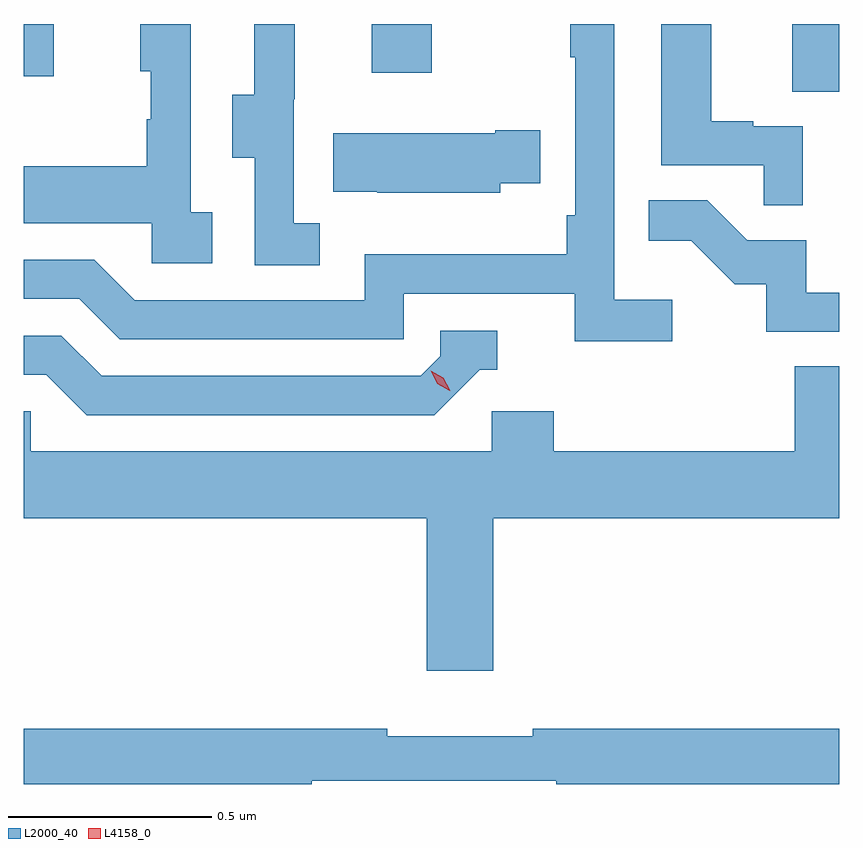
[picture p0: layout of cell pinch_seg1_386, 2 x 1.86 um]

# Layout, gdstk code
import gdstk
lib = gdstk.Library(unit=1e-6, precision=1e-09)
def R(c, l, rs):  # rectangles x0, y0, x1, y1
    for r in rs: c.add(gdstk.rectangle(r[:2], r[2:], *l))
def P(c, l, *ps):  # polygons
    for p in ps: c.add(gdstk.Polygon(p, *l))
L2000_40 = (2000, 40)
L4158_0 = (4158, 0)

pinch_seg1_386 = lib.new_cell('pinch_seg1_386')
R(pinch_seg1_386, L2000_40, [(969.101,542.122,969.216,542.288), (967.216,542.16,967.289,542.288), (968.069,542.169,968.217,542.288)])
P(pinch_seg1_386, L2000_40, [(969.126,542.037),(969.005,542.037),(969.005,542.05),(968.902,542.05),(968.902,542.288),(968.78,542.288),(968.78,541.941),(969.031,541.941),(969.031,541.843),(969.126,541.843)],
  [(967.678,541.826),(967.626,541.826),(967.626,542.288),(967.502,542.288),(967.502,542.172),(967.528,542.172),(967.528,542.054),(967.518,542.054),(967.518,541.939),(967.216,541.939),(967.216,541.799),(967.53,541.799),(967.53,541.701),(967.678,541.701)],
  [(968.806,541.612),(968.664,541.612),(968.664,542.288),(968.556,542.288),(968.556,542.207),(968.568,542.207),(968.568,541.819),(968.548,541.819),(968.548,541.723),(968.052,541.723),(968.052,541.611),(967.488,541.611),(967.389,541.71),(967.216,541.71),(967.216,541.614),(967.352,541.614),(967.451,541.515),(968.148,541.515),(968.148,541.626),(968.567,541.626),(968.567,541.51),(968.806,541.51)],
  [(967.942,541.799),(967.878,541.799),(967.878,542.103),(967.88,542.103),(967.88,542.288),(967.781,542.288),(967.781,542.115),(967.727,542.115),(967.727,541.96),(967.782,541.96),(967.782,541.696),(967.942,541.696)],
  [(968.385,541.898),(968.483,541.898),(968.483,542.028),(968.372,542.028),(968.372,542.02),(967.975,542.02),(967.975,541.877),(968.083,541.877),(968.083,541.874),(968.385,541.874)],
  [(969.216,541.629),(969.135,541.629),(969.135,541.758),(968.99,541.758),(968.892,541.856),(968.749,541.856),(968.749,541.757),(968.853,541.757),(968.96,541.65),(969.037,541.65),(969.037,541.533),(969.216,541.533)],
  [(968.334,541.44),(968.377,541.44),(968.377,541.536),(968.238,541.536),(968.238,541.473),(968.19,541.425),(967.407,541.425),(967.308,541.524),(967.216,541.524),(967.216,541.428),(967.271,541.428),(967.37,541.329),(968.223,541.329)],
  [(968.368,541.076),(969.216,541.076),(969.216,541.448),(969.107,541.448),(969.107,541.24),(968.516,541.24),(968.516,541.338),(968.364,541.338),(968.364,541.24),(967.233,541.24),(967.233,541.338),(967.216,541.338),(967.216,541.076),(968.204,541.076),(968.204,540.702),(968.368,540.702)],
  [(967.922,540.432),(968.522,540.432),(968.522,540.424),(969.216,540.424),(969.216,540.56),(968.464,540.56),(968.464,540.541),(968.108,540.541),(968.108,540.56),(967.216,540.56),(967.216,540.424),(967.922,540.424)])
P(pinch_seg1_386, L4158_0, [(968.261,541.388),(968.23,541.406),(968.214,541.438),(968.214,541.438),(968.214,541.438),(968.245,541.42),(968.262,541.388),(968.262,541.388)])

lib.write_gds('pinch_seg1_386.gds')
